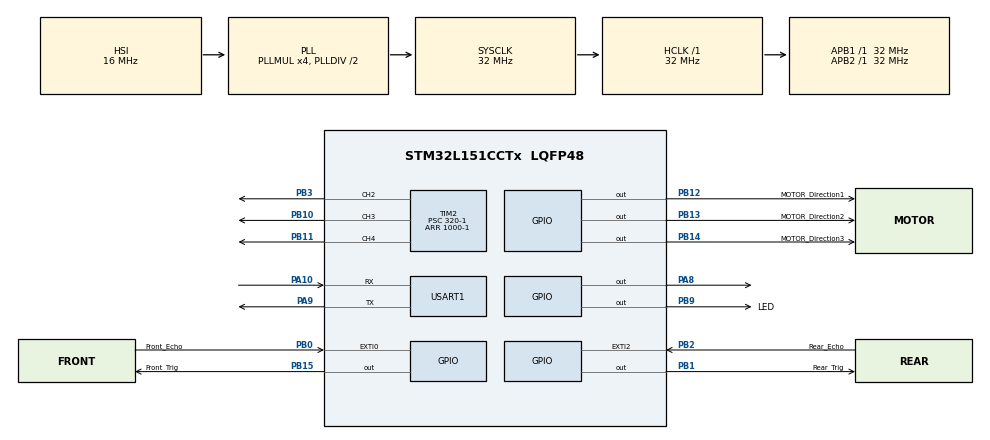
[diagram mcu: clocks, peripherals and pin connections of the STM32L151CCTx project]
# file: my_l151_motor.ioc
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Dma.Request0=USART1_RX
Dma.Request1=USART1_TX
Dma.USART1_RX.0.Direction=DMA_PERIPH_TO_MEMORY
Dma.USART1_RX.0.Instance=DMA1_Channel5
Dma.USART1_RX.0.MemDataAlignment=DMA_MDATAALIGN_BYTE
Dma.USART1_RX.0.MemInc=DMA_MINC_ENABLE
Dma.USART1_RX.0.Mode=DMA_NORMAL
Dma.USART1_RX.0.PeriphDataAlignment=DMA_PDATAALIGN_BYTE
Dma.USART1_RX.0.PeriphInc=DMA_PINC_DISABLE
Dma.USART1_RX.0.Priority=DMA_PRIORITY_LOW
Dma.USART1_TX.1.Direction=DMA_MEMORY_TO_PERIPH
Dma.USART1_TX.1.Instance=DMA1_Channel4
Dma.USART1_TX.1.MemDataAlignment=DMA_MDATAALIGN_BYTE
Dma.USART1_TX.1.MemInc=DMA_MINC_ENABLE
Dma.USART1_TX.1.Mode=DMA_NORMAL
Dma.USART1_TX.1.PeriphDataAlignment=DMA_PDATAALIGN_BYTE
Dma.USART1_TX.1.PeriphInc=DMA_PINC_DISABLE
Dma.USART1_TX.1.Priority=DMA_PRIORITY_LOW
Mcu.Family=STM32L1
Mcu.Name=STM32L151CCTx
Mcu.Package=LQFP48
NVIC.DMA1_Channel4_IRQn=true\:0\:0\:false\:false\:true\:false\:true
NVIC.DMA1_Channel5_IRQn=true\:0\:0\:false\:false\:true\:false\:true
NVIC.EXTI0_IRQn=true\:0\:0\:false\:false\:true\:true\:true
NVIC.EXTI2_IRQn=true\:0\:0\:false\:false\:true\:true\:true
NVIC.PriorityGroup=NVIC_PRIORITYGROUP_4
NVIC.TIM2_IRQn=true\:0\:0\:false\:false\:true\:true\:true
NVIC.TIM3_IRQn=true\:0\:0\:false\:false\:true\:true\:true
NVIC.USART1_IRQn=true\:0\:0\:false\:false\:true\:true\:true
PA10.Mode=Asynchronous
PA10.Signal=USART1_RX
PA13.Mode=Serial_Wire
PA13.Signal=SYS_JTMS-SWDIO
PA14.Mode=Serial_Wire
PA14.Signal=SYS_JTCK-SWCLK
PA8.Signal=GPIO_Output
PA9.Mode=Asynchronous
PA9.Signal=USART1_TX
PB0.GPIO_Label=Front_Echo
PB0.GPIO_ModeDefaultEXTI=GPIO_MODE_IT_RISING_FALLING
PB0.GPIO_PuPd=GPIO_PULLDOWN
PB0.Signal=GPXTI0
PB1.GPIO_Label=Rear_Trig
PB1.GPIO_PuPd=GPIO_PULLDOWN
PB1.GPIO_Speed=GPIO_SPEED_FREQ_MEDIUM
PB1.Signal=GPIO_Output
PB10.Signal=S_TIM2_CH3
PB11.Signal=S_TIM2_CH4
PB12.GPIO_Label=MOTOR_Direction1
PB12.GPIO_PuPd=GPIO_PULLUP
PB12.GPIO_Speed=GPIO_SPEED_FREQ_HIGH
PB12.PinState=GPIO_PIN_SET
PB12.Signal=GPIO_Output
PB13.GPIO_Label=MOTOR_Direction2
PB13.GPIO_PuPd=GPIO_PULLUP
PB13.GPIO_Speed=GPIO_SPEED_FREQ_HIGH
PB13.PinState=GPIO_PIN_SET
PB13.Signal=GPIO_Output
PB14.GPIO_Label=MOTOR_Direction3
PB14.GPIO_PuPd=GPIO_PULLUP
PB14.GPIO_Speed=GPIO_SPEED_FREQ_HIGH
PB14.PinState=GPIO_PIN_SET
PB14.Signal=GPIO_Output
PB15.GPIO_Label=Front_Trig
PB15.GPIO_PuPd=GPIO_PULLDOWN
PB15.GPIO_Speed=GPIO_SPEED_FREQ_MEDIUM
PB15.Signal=GPIO_Output
PB2.GPIO_Label=Rear_Echo
PB2.GPIO_ModeDefaultEXTI=GPIO_MODE_IT_RISING_FALLING
PB2.GPIO_PuPd=GPIO_PULLDOWN
PB2.Signal=GPXTI2
PB3.Signal=S_TIM2_CH2
PB9.GPIO_Label=LED
PB9.GPIO_PuPd=GPIO_PULLDOWN
PB9.GPIO_Speed=GPIO_SPEED_FREQ_MEDIUM
PB9.Signal=GPIO_Output
PH0-OSC_IN.Mode=HSE-External-Oscillator
PH0-OSC_IN.Signal=RCC_OSC_IN
PH1-OSC_OUT.Mode=HSE-External-Oscillator
PH1-OSC_OUT.Signal=RCC_OSC_OUT
ProjectManager.HeapSize=0x200
ProjectManager.StackSize=0x400
ProjectManager.TargetToolchain=MDK-ARM V5.27
RCC.48MHZClocksFreq_Value=32000000
RCC.AHBFreq_Value=32000000
RCC.APB1Freq_Value=32000000
RCC.APB1TimFreq_Value=32000000
RCC.APB2Freq_Value=32000000
RCC.APB2TimFreq_Value=32000000
RCC.HCLKFreq_Value=32000000
RCC.HSE_VALUE=8000000
RCC.HSI_VALUE=16000000
RCC.LSE_VALUE=32768
RCC.MSI_VALUE=2097000
RCC.PLLMUL=RCC_PLL_MUL4
RCC.SYSCLKFreq_VALUE=32000000
RCC.SYSCLKSource=RCC_SYSCLKSOURCE_PLLCLK
RCC.VCOOutputFreq_Value=64000000
SH.S_TIM2_CH2.0=TIM2_CH2,PWM Generation2 CH2
SH.S_TIM2_CH3.0=TIM2_CH3,PWM Generation3 CH3
SH.S_TIM2_CH4.0=TIM2_CH4,PWM Generation4 CH4
TIM2.Channel-PWM\ Generation2\ CH2=TIM_CHANNEL_2
TIM2.Channel-PWM\ Generation3\ CH3=TIM_CHANNEL_3
TIM2.Channel-PWM\ Generation4\ CH4=TIM_CHANNEL_4
TIM2.Period=1000-1
TIM2.Prescaler=320-1
TIM3.AutoReloadPreload=TIM_AUTORELOAD_PRELOAD_ENABLE
TIM3.Prescaler=32-1
USART1.VirtualMode=VM_ASYNC
VP_TIM2_VS_ClockSourceINT.Mode=Internal
VP_TIM3_VS_ClockSourceINT.Mode=Internal
board=custom

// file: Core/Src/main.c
/* USER CODE BEGIN Header */
/**
  ******************************************************************************
  * @file           : main.c
  * @brief          : Main program body
  ******************************************************************************
  * @attention
  *
  * Copyright (c) 2025 STMicroelectronics.
  * All rights reserved.
  *
  * This software is licensed under terms that can be found in the LICENSE file
  * in the root directory of this software component.
  * If no LICENSE file comes with this software, it is provided AS-IS.
  *
  ******************************************************************************
  */
/* USER CODE END Header */
#include "main.h"
#include "dma.h"
#include "tim.h"
#include "usart.h"
#include "gpio.h"

/* USER CODE BEGIN Includes */
/* segger rtt includes. */
#include "SEGGER_RTT.h"
#include "SEGGER_RTT_Conf.h"
#include "motor.h"
#include "HC_SR04.h"

#define BUFFER_INDEX 0

/*!
* @brief 封装 RTT 打印接口
*        执行条件：无
*
* @retval: 无
*/
void print_log(const char * sFormat, ...)
{
	va_list ParamList;
	va_start(ParamList, sFormat);
	SEGGER_RTT_vprintf(BUFFER_INDEX, sFormat, &ParamList);
	va_end(ParamList);
}

// 打印16进制格式数组
void print_array_hex(const uint8_t *array, uint16_t length, const char *name)
{
    if (array == NULL || length == 0) {
        print_log("Invalid array parameters\r\n");
		HAL_NVIC_SystemReset();
        return;
    }

    print_log("%s (length:%d): ", name, length);
    for (uint16_t i = 0; i < length; i++) {
        print_log("0x%02X ", array[i]);
    }
    print_log("\r\n");
}

/*!
* @brief 初始化 RTT 打印接口
*        执行条件：无
*
* @retval: 无
*/
void segger_rtt_init(char * str)
{
	SEGGER_RTT_Init();
	print_log(str);  // 封装接口，无需填写 BUFFER_INDEX
}

/* USER CODE END Includes */

/* USER CODE BEGIN PTD */
uint8_t rx_buffer[MAXSIZE];							//接收数组
volatile uint8_t rx_len = 0; 						//接收到的数据长度
volatile uint8_t recv_end_flag = 0; 				//接收结束标志位

uint8_t g_ControlMotorFlag = CONTROL_MOTOR_IDLE;	//控制电机标志位,0:默认,1:控制电机前进后退，2：控制电机转向，3：控制电机停止

/* USER CODE END PTD */

void SystemClock_Config(void);

int main(void)
{

  /* MCU Configuration--------------------------------------------------------*/

  /* Reset of all peripherals, Initializes the Flash interface and the Systick. */
  HAL_Init();

  /* Configure the system clock */
  SystemClock_Config();

  /* USER CODE BEGIN SysInit */
	HAL_GPIO_WritePin(GPIOA,GPIO_PIN_8, GPIO_PIN_SET);
	HAL_Delay(100);
	HAL_GPIO_WritePin(GPIOA,GPIO_PIN_8, GPIO_PIN_RESET);

  /* USER CODE END SysInit */

  /* Initialize all configured peripherals */
  MX_GPIO_Init();
  MX_TIM2_Init();
  MX_TIM3_Init();
  MX_DMA_Init();
  MX_USART1_UART_Init();
  /* USER CODE BEGIN 2 */
	segger_rtt_init("systerm start!\n");  // 调用这句进行初始化以及打印开机信息【Demo start！】
	print_log("print test!\n");  //
	__HAL_UART_ENABLE_IT(&huart1, UART_IT_IDLE);
	HAL_UART_Receive_DMA(&huart1,rx_buffer,MAXSIZE);

	HAL_TIM_PWM_Start(&htim2,TIM_CHANNEL_2);
	HAL_TIM_PWM_Start(&htim2,TIM_CHANNEL_3);
	HAL_TIM_PWM_Start(&htim2,TIM_CHANNEL_4);

	HAL_TIM_Base_Start_IT(&htim3);        	// 启动定时器1基础功能
  /* USER CODE END 2 */

  /* Infinite loop */
  /* USER CODE BEGIN WHILE */
  while (1)
  {
		my_motor_control_protocol_analysis();
		my_motor_control_task();
//		Ultrasonic_Task_Handler();				//超声波测量前后距离task
    /* USER CODE END WHILE */

  }
}

void SystemClock_Config(void)
{
  RCC_OscInitTypeDef RCC_OscInitStruct = {0};
  RCC_ClkInitTypeDef RCC_ClkInitStruct = {0};

  /** Configure the main internal regulator output voltage
  */
  __HAL_PWR_VOLTAGESCALING_CONFIG(PWR_REGULATOR_VOLTAGE_SCALE1);
  /** Initializes the RCC Oscillators according to the specified parameters
  * in the RCC_OscInitTypeDef structure.
  */
  RCC_OscInitStruct.OscillatorType = RCC_OSCILLATORTYPE_HSI;
  RCC_OscInitStruct.HSIState = RCC_HSI_ON;
  RCC_OscInitStruct.HSICalibrationValue = RCC_HSICALIBRATION_DEFAULT;
  RCC_OscInitStruct.PLL.PLLState = RCC_PLL_ON;
  RCC_OscInitStruct.PLL.PLLSource = RCC_PLLSOURCE_HSI;
  RCC_OscInitStruct.PLL.PLLMUL = RCC_PLL_MUL4;
  RCC_OscInitStruct.PLL.PLLDIV = RCC_PLL_DIV2;
  if (HAL_RCC_OscConfig(&RCC_OscInitStruct) != HAL_OK)
  {
    Error_Handler();
  }
  /** Initializes the CPU, AHB and APB buses clocks
  */
  RCC_ClkInitStruct.ClockType = RCC_CLOCKTYPE_HCLK|RCC_CLOCKTYPE_SYSCLK
                              |RCC_CLOCKTYPE_PCLK1|RCC_CLOCKTYPE_PCLK2;
  RCC_ClkInitStruct.SYSCLKSource = RCC_SYSCLKSOURCE_PLLCLK;
  RCC_ClkInitStruct.AHBCLKDivider = RCC_SYSCLK_DIV1;
  RCC_ClkInitStruct.APB1CLKDivider = RCC_HCLK_DIV1;
  RCC_ClkInitStruct.APB2CLKDivider = RCC_HCLK_DIV1;

  if (HAL_RCC_ClockConfig(&RCC_ClkInitStruct, FLASH_LATENCY_1) != HAL_OK)
  {
    Error_Handler();
  }
}

void Error_Handler(void)
{
  __disable_irq();
  while (1)
  {
  }
}
